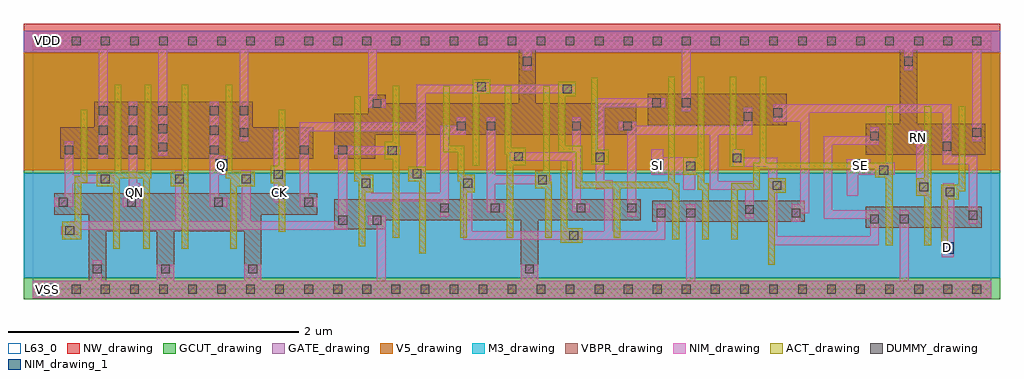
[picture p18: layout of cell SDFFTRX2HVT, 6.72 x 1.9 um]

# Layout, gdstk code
import gdstk
lib = gdstk.Library(unit=1e-6, precision=5e-10)
def R(c, l, rs):  # rectangles x0, y0, x1, y1
    for r in rs: c.add(gdstk.rectangle(r[:2], r[2:], *l))
def A(c, l, x, y, w, h, nx, ny, dx, dy):  # array of equal rectangles
    R(c, l, [(x+i*dx, y+j*dy, x+i*dx+w, y+j*dy+h) for i in range(nx) for j in range(ny)])
def P(c, l, *ps):  # polygons
    for p in ps: c.add(gdstk.Polygon(p, *l))
VBPR_drawing = (1, 0)
NW_drawing = (2, 0)
ACT_drawing = (3, 0)
GATE_drawing = (4, 0)
GCUT_drawing = (5, 0)
DUMMY_drawing = (6, 0)
NIM_drawing = (7, 0)
NIM_drawing_1 = (7, 1)
M3_drawing = (18, 0)
V5_drawing = (23, 0)
L63_0 = (63, 0)

sdfftrx2hvt = lib.new_cell('SDFFTRX2HVT')
R(sdfftrx2hvt, VBPR_drawing, [(0,-0.06,6.6,0.06), (5.735,0.425,6.535,0.57), (4.265,0.465,5.315,0.61), (4.235,1.13,5.19,1.345), (0,1.65,6.6,1.77)])
P(sdfftrx2hvt, VBPR_drawing, [(6.56,1.14),(6.09,1.14),(6.09,1.65),(5.97,1.65),(5.97,1.14),(5.735,1.14),(5.735,0.925),(6.56,0.925)],
  [(0.425,1.29),(1.515,1.29),(1.515,1.115),(1.93,1.115),(1.93,0.9),(0.19,0.9),(0.19,1.115),(0.425,1.115)],
  [(4.185,0.62),(2.075,0.62),(2.075,0.415),(2.43,0.415),(2.43,0.475),(3.36,0.475),(3.36,0.06),(3.48,0.06),(3.48,0.475),(4.185,0.475)],
  [(1.96,0.66),(0.15,0.66),(0.15,0.515),(0.385,0.515),(0.385,0.06),(0.505,0.06),(0.505,0.4),(0.855,0.4),(0.855,0.06),(0.975,0.06),(0.975,0.4),(1.455,0.4),(1.455,0.06),(1.575,0.06),(1.575,0.515),(1.96,0.515)],
  [(4.155,1.28),(3.465,1.28),(3.465,1.65),(3.345,1.65),(3.345,1.28),(2.43,1.28),(2.43,1.34),(2.31,1.34),(2.31,1.21),(2.075,1.21),(2.075,0.9),(2.36,0.9),(2.36,1.065),(4.155,1.065)])
R(sdfftrx2hvt, NW_drawing, [(-0.06,0.82,6.66,1.83)])
P(sdfftrx2hvt, ACT_drawing, [(0.565,1.41),(0.61,1.41),(0.61,0.81),(0.77,0.81),(0.77,1.41),(0.815,1.41),(0.815,0.765),(0.805,0.765),(0.805,0.28),(0.76,0.28),(0.76,0.765),(0.6,0.765),(0.6,0.28),(0.555,0.28),(0.555,0.71),(0.44,0.71),(0.44,0.81),(0.565,0.81)],
  [(1.025,1.41),(1.07,1.41),(1.07,0.28),(1.025,0.28),(1.025,0.71),(0.95,0.71),(0.95,0.81),(1.025,0.81)],
  [(1.33,1.41),(1.375,1.41),(1.375,0.81),(1.53,0.81),(1.53,0.71),(1.405,0.71),(1.405,0.28),(1.36,0.28),(1.36,0.765),(1.33,0.765)],
  [(3.03,1.445),(3.15,1.445),(3.15,1.345),(3.075,1.345),(3.075,0.85),(3.03,0.85)],
  [(0.33,1.235),(0.375,1.235),(0.375,0.735),(0.335,0.735),(0.335,0.345),(0.205,0.345),(0.205,0.465),(0.29,0.465),(0.29,0.78),(0.33,0.78)],
  [(1.695,1.235),(1.74,1.235),(1.74,0.395),(1.695,0.395),(1.695,0.73),(1.64,0.73),(1.64,0.85),(1.695,0.85)],
  [(2.215,1.33),(2.26,1.33),(2.26,0.79),(2.345,0.79),(2.345,0.67),(2.29,0.67),(2.29,0.295),(2.245,0.295),(2.245,0.745),(2.215,0.745)],
  [(2.48,1.4),(2.525,1.4),(2.525,0.355),(2.48,0.355),(2.48,0.895),(2.425,0.895),(2.425,1.015),(2.48,1.015)],
  [(2.825,1.4),(2.87,1.4),(2.87,0.99),(2.97,0.99),(2.97,0.79),(3.045,0.79),(3.045,0.67),(2.99,0.67),(2.99,0.355),(2.945,0.355),(2.945,0.745),(2.925,0.745),(2.925,0.945),(2.825,0.945)],
  [(3.25,1.4),(3.295,1.4),(3.295,0.975),(3.395,0.975),(3.395,0.855),(3.31,0.855),(3.31,0.355),(3.265,0.355),(3.265,0.93),(3.25,0.93)],
  [(3.62,1.43),(3.74,1.43),(3.74,1.33),(3.665,1.33),(3.665,0.99),(3.785,0.99),(3.785,0.74),(4.375,0.74),(4.375,1.465),(4.42,1.465),(4.42,0.73),(4.45,0.73),(4.45,0.345),(4.405,0.345),(4.405,0.685),(4.375,0.685),(4.375,0.695),(4.045,0.695),(4.045,0.355),(4,0.355),(4,0.695),(3.74,0.695),(3.74,0.945),(3.62,0.945)],
  [(3.515,1.4),(3.56,1.4),(3.56,0.74),(3.575,0.74),(3.575,0.355),(3.53,0.355),(3.53,0.695),(3.46,0.695),(3.46,0.815),(3.515,0.815)],
  [(3.845,1.455),(3.89,1.455),(3.89,0.96),(3.965,0.96),(3.965,0.86),(3.845,0.86)],
  [(4.58,1.465),(4.625,1.465),(4.625,0.73),(4.655,0.73),(4.655,0.345),(4.61,0.345),(4.61,0.685),(4.58,0.685),(4.58,0.79),(4.48,0.79),(4.48,0.91),(4.58,0.91)],
  [(4.8,1.465),(4.845,1.465),(4.845,0.965),(4.9,0.965),(4.9,0.845),(4.8,0.845)],
  [(5.005,1.465),(5.05,1.465),(5.05,0.87),(5.875,0.87),(5.875,1.26),(5.92,1.26),(5.92,0.305),(5.875,0.305),(5.875,0.77),(5.8,0.77),(5.8,0.825),(5.005,0.825),(5.005,0.685),(4.855,0.685),(4.855,0.345),(4.81,0.345),(4.81,0.73),(4.96,0.73),(4.96,0.87),(5.005,0.87)],
  [(6.14,1.26),(6.185,1.26),(6.185,0.305),(6.14,0.305),(6.14,0.645),(6.085,0.645),(6.085,0.765),(6.14,0.765)],
  [(6.375,1.26),(6.42,1.26),(6.42,0.675),(6.375,0.675),(6.375,0.62),(6.3,0.62),(6.3,0.305),(6.255,0.305),(6.255,0.72),(6.375,0.72)],
  [(2.585,0.845),(2.705,0.845),(2.705,0.25),(2.66,0.25),(2.66,0.745),(2.585,0.745)],
  [(3.635,0.885),(3.68,0.885),(3.68,0.42),(3.785,0.42),(3.785,0.32),(3.635,0.32)],
  [(5.065,0.765),(5.185,0.765),(5.185,0.665),(5.11,0.665),(5.11,0.17),(5.065,0.17)])
R(sdfftrx2hvt, GATE_drawing, [(-0.06,0.08,6.66,0.8), (-0.06,1.63,6.66,1.78)])
R(sdfftrx2hvt, GCUT_drawing, [(-0.06,-0.07,6.66,0.08), (-0.06,0.8,6.66,1.63)])
A(sdfftrx2hvt, DUMMY_drawing, 0.07, -0.03, 0.06, 0.06, 33, 2, 0.2, 1.71)
A(sdfftrx2hvt, DUMMY_drawing, 1.22, 0.93, 0.06, 0.06, 1, 3, 0, 0.135)
A(sdfftrx2hvt, DUMMY_drawing, 0.455, 1.2, 0.06, 0.06, 3, 1, 0.205, 0)
R(sdfftrx2hvt, DUMMY_drawing, [(0.415,0.11,0.475,0.17), (0.885,0.11,0.945,0.17), (1.485,0.11,1.545,0.17), (3.39,0.11,3.45,0.17), (3.695,0.34,3.755,0.4), (0.225,0.375,0.285,0.435), (2.105,0.445,2.165,0.505), (2.34,0.445,2.4,0.505), (5.765,0.455,5.825,0.515), (5.97,0.455,6.03,0.515), (6.445,0.48,6.505,0.54), (4.295,0.495,4.355,0.555), (4.5,0.495,4.56,0.555), (5.225,0.495,5.285,0.555), (4.905,0.52,4.965,0.58), (2.805,0.53,2.865,0.59), (3.155,0.53,3.215,0.59), (3.745,0.53,3.805,0.59), (4.095,0.53,4.155,0.59), (0.18,0.57,0.24,0.63), (0.65,0.57,0.71,0.63), (1.25,0.57,1.31,0.63), (1.87,0.57,1.93,0.63), (6.285,0.64,6.345,0.7), (6.105,0.675,6.165,0.735), (5.095,0.685,5.155,0.745), (2.265,0.7,2.325,0.76), (2.965,0.7,3.025,0.76), (3.48,0.725,3.54,0.785), (0.47,0.73,0.53,0.79), (0.98,0.73,1.04,0.79), (1.44,0.73,1.5,0.79), (1.66,0.76,1.72,0.82), (2.615,0.765,2.675,0.825), (5.83,0.79,5.89,0.85), (4.5,0.82,4.56,0.88), (4.82,0.875,4.88,0.935), (3.875,0.88,3.935,0.94), (3.315,0.885,3.375,0.945), (2.445,0.925,2.505,0.985), (0.22,0.93,0.28,0.99), (0.455,0.93,0.515,0.99), (0.66,0.93,0.72,0.99), (1.84,0.93,1.9,0.99), (2.105,0.93,2.165,0.99), (0.865,0.95,0.925,1.01), (6.265,0.955,6.325,1.015), (5.765,1.025,5.825,1.085), (1.425,1.05,1.485,1.11), (6.47,1.05,6.53,1.11), (0.455,1.065,0.515,1.125), (0.66,1.065,0.72,1.125), (0.865,1.075,0.925,1.135), (2.92,1.095,2.98,1.155), (3.125,1.095,3.185,1.155), (3.715,1.095,3.775,1.155), (4.065,1.095,4.125,1.155), (4.895,1.16,4.955,1.22), (5.1,1.185,5.16,1.245), (1.425,1.2,1.485,1.26), (2.34,1.25,2.4,1.31), (4.265,1.255,4.325,1.315), (4.47,1.255,4.53,1.315), (3.65,1.35,3.71,1.41), (3.06,1.365,3.12,1.425), (3.375,1.54,3.435,1.6), (6,1.54,6.06,1.6)])
R(sdfftrx2hvt, NIM_drawing, [(0.415,0.06,0.475,0.2), (0.855,0.06,0.975,0.17), (1.455,0.06,1.575,0.17), (3.36,0.06,3.48,0.17), (4.5,0.06,4.56,0.585), (5.97,0.06,6.03,0.545), (1.66,0.6,1.74,1.1), (0.455,0.9,0.515,1.65), (0.865,0.92,0.925,1.65), (1.425,1.02,1.485,1.65), (6.47,1.02,6.53,1.65), (4.47,1.225,4.53,1.65), (3.375,1.51,3.435,1.65), (6,1.51,6.06,1.65)])
P(sdfftrx2hvt, NIM_drawing, [(2.43,1.31),(2.37,1.31),(2.37,1.65),(2.31,1.65),(2.31,1.25),(2.43,1.25)],
  [(2.43,0.505),(2.31,0.505),(2.31,0.445),(2.37,0.445),(2.37,0.06),(2.43,0.06)],
  [(0.22,1.02),(0.28,1.02),(0.28,0.79),(0.56,0.79),(0.56,0.73),(0.28,0.73),(0.28,0.57),(0.15,0.57),(0.15,0.63),(0.22,0.63)],
  [(0.66,1.29),(0.72,1.29),(0.72,0.73),(0.74,0.73),(0.74,0.57),(0.62,0.57),(0.62,0.63),(0.66,0.63)],
  [(1.22,1.29),(1.28,1.29),(1.28,0.92),(1.34,0.92),(1.34,0.79),(1.28,0.79),(1.28,0.63),(1.34,0.63),(1.34,0.57),(1.22,0.57)],
  [(2.075,0.99),(2.195,0.99),(2.195,0.985),(2.535,0.985),(2.535,0.925),(2.165,0.925),(2.165,0.41),(0.315,0.41),(0.315,0.375),(0.195,0.375),(0.195,0.435),(0.255,0.435),(0.255,0.47),(0.98,0.47),(0.98,0.82),(1.04,0.82),(1.04,0.47),(1.44,0.47),(1.44,0.82),(1.5,0.82),(1.5,0.47),(2.105,0.47),(2.105,0.93),(2.075,0.93)],
  [(3.03,1.425),(3.15,1.425),(3.15,1.41),(3.74,1.41),(3.74,1.35),(2.705,1.35),(2.705,0.765),(2.585,0.765),(2.585,0.825),(2.645,0.825),(2.645,1.09),(1.9,1.09),(1.9,0.63),(1.96,0.63),(1.96,0.57),(1.84,0.57),(1.84,1.15),(2.645,1.15),(2.645,1.41),(3.03,1.41)],
  [(3.875,1.315),(4.355,1.315),(4.355,1.255),(3.935,1.255),(3.935,0.75),(3.995,0.75),(3.995,0.4),(4.295,0.4),(4.295,0.585),(4.355,0.585),(4.355,0.34),(2.965,0.34),(2.965,0.79),(3.025,0.79),(3.025,0.4),(3.935,0.4),(3.935,0.69),(3.875,0.69)],
  [(2.92,1.185),(2.98,1.185),(2.98,1.065),(2.865,1.065),(2.865,0.5),(2.805,0.5),(2.805,0.605),(2.265,0.605),(2.265,0.79),(2.325,0.79),(2.325,0.665),(2.805,0.665),(2.805,1.125),(2.92,1.125)],
  [(3.125,1.185),(3.185,1.185),(3.185,0.785),(3.57,0.785),(3.57,0.725),(3.185,0.725),(3.185,0.59),(3.245,0.59),(3.245,0.53),(3.125,0.53)],
  [(3.715,1.185),(3.775,1.185),(3.775,0.59),(3.835,0.59),(3.835,0.53),(3.715,0.53),(3.715,0.885),(3.285,0.885),(3.285,0.945),(3.715,0.945)],
  [(4.035,1.155),(4.155,1.155),(4.155,1.125),(4.895,1.125),(4.895,1.25),(4.955,1.25),(4.955,1.065),(4.72,1.065),(4.72,0.745),(4.965,0.745),(4.965,0.49),(4.905,0.49),(4.905,0.685),(4.66,0.685),(4.66,1.065),(4.155,1.065),(4.155,0.5),(4.095,0.5),(4.095,1.095),(4.035,1.095)],
  [(5.1,1.275),(6.325,1.275),(6.325,0.92),(6.505,0.92),(6.505,0.45),(6.445,0.45),(6.445,0.86),(6.265,0.86),(6.265,1.215),(5.345,1.215),(5.345,0.525),(5.285,0.525),(5.285,0.465),(5.225,0.465),(5.225,0.585),(5.285,0.585),(5.285,1.155),(5.1,1.155)],
  [(4.26,0.965),(4.34,0.965),(4.34,0.91),(4.56,0.91),(4.56,0.685),(4.48,0.685),(4.48,0.79),(4.26,0.79)],
  [(5.765,1.115),(5.825,1.115),(5.825,0.995),(5.505,0.995),(5.505,0.545),(5.825,0.545),(5.825,0.305),(5.065,0.305),(5.065,0.845),(4.82,0.845),(4.82,0.965),(4.88,0.965),(4.88,0.905),(5.125,0.905),(5.125,0.745),(5.185,0.745),(5.185,0.685),(5.125,0.685),(5.125,0.365),(5.765,0.365),(5.765,0.485),(5.445,0.485),(5.445,1.055),(5.765,1.055)],
  [(6.035,1.095),(6.165,1.095),(6.165,0.645),(6.085,0.645),(6.085,1.005),(6.035,1.005)],
  [(5.605,0.895),(5.765,0.895),(5.765,0.87),(5.935,0.87),(5.935,0.79),(5.685,0.79),(5.685,0.645),(5.605,0.645)],
  [(6.265,0.73),(6.345,0.73),(6.345,0.27),(6.34,0.27),(6.34,0.22),(6.26,0.22),(6.26,0.35),(6.265,0.35)])
R(sdfftrx2hvt, NIM_drawing_1, [(0.06,-0.04,0.14,0.04), (6.26,0.245,6.34,0.325), (0.66,0.625,0.74,0.705), (1.66,0.625,1.74,0.705), (1.26,0.815,1.34,0.895), (4.26,0.815,4.34,0.895), (5.66,0.815,5.74,0.895), (6.06,1.005,6.14,1.085), (0.06,1.67,0.14,1.75)])
R(sdfftrx2hvt, M3_drawing, [(-0.06,0.08,6.66,0.8)])
R(sdfftrx2hvt, V5_drawing, [(-0.06,0.82,6.66,1.63)])
R(sdfftrx2hvt, L63_0, [(0,0,6.6,1.71)])
sdfftrx2hvt.add(gdstk.FlexPath([(0,0),(6.6,0)], 0.12, ends="flush", simple_path=True, layer=7, datatype=0))  # NIM_drawing
sdfftrx2hvt.add(gdstk.FlexPath([(0,1.71),(6.6,1.71)], 0.12, ends="flush", simple_path=True, layer=7, datatype=0))  # NIM_drawing
sdfftrx2hvt.add(gdstk.Label('Q', (1.3,0.855), layer=7, texttype=1))
sdfftrx2hvt.add(gdstk.Label('QN', (0.7,0.665), layer=7, texttype=1))
sdfftrx2hvt.add(gdstk.Label('D', (6.3,0.285), layer=7, texttype=1))
sdfftrx2hvt.add(gdstk.Label('RN', (6.1,1.045), layer=7, texttype=1))
sdfftrx2hvt.add(gdstk.Label('SE', (5.7,0.855), layer=7, texttype=1))
sdfftrx2hvt.add(gdstk.Label('SI', (4.3,0.855), layer=7, texttype=1))
sdfftrx2hvt.add(gdstk.Label('CK', (1.7,0.665), layer=7, texttype=1))
sdfftrx2hvt.add(gdstk.Label('VDD', (0.1,1.71), layer=7, texttype=1))
sdfftrx2hvt.add(gdstk.Label('VSS', (0.1,0), layer=7, texttype=1))
sdfftrx2hvt.add(gdstk.Label('VSS', (0.1,0), layer=7, texttype=1))
sdfftrx2hvt.add(gdstk.Label('VDD', (0.1,1.71), layer=7, texttype=1))
sdfftrx2hvt.add(gdstk.Label('CK', (1.7,0.665), layer=7, texttype=1))
sdfftrx2hvt.add(gdstk.Label('SI', (4.3,0.855), layer=7, texttype=1))
sdfftrx2hvt.add(gdstk.Label('SE', (5.7,0.855), layer=7, texttype=1))
sdfftrx2hvt.add(gdstk.Label('RN', (6.1,1.045), layer=7, texttype=1))
sdfftrx2hvt.add(gdstk.Label('D', (6.3,0.285), layer=7, texttype=1))
sdfftrx2hvt.add(gdstk.Label('QN', (0.7,0.665), layer=7, texttype=1))
sdfftrx2hvt.add(gdstk.Label('Q', (1.3,0.855), layer=7, texttype=1))
sdfftrx2hvt.add(gdstk.Label('SDFFTRX2', (0,0), layer=63, texttype=0))

lib.write_gds('SDFFTRX2HVT.gds')
